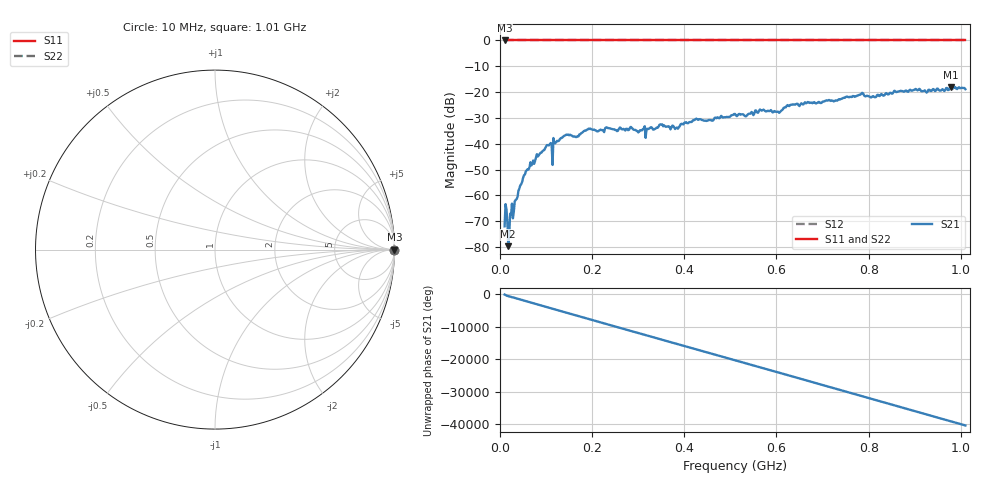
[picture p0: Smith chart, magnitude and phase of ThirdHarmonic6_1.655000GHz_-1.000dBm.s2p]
! 8/16/2025 7:49:28 PM
! C:\ANRITSUVNA\TEMP\TEMP.S2P
! CHANNEL.1
! TR.MEASUREMENT
! RAW.DATA
! RF.CORRECTION.OFF
! AVERAGING.OFF
! IF.BANDWIDTH: 5KHZ
! SWEEPTYPE:  FREQ.SWEEP(Linear)
! Reference Plane Port Info
! PORT:  PORT1  PORT2
! DISTANCE:  0  m  0  m
! TIME:  0  s  0  s
! PHASE.OFFSET:  0  deg.  0  deg.
! LOSS:  0  dB  0  dB
! REF.LOSS:  0  dB  0  dB
! REF.FREQ:  0  Hz  0  Hz
! Power Info
! POWER:  -20  dBm  -20  dBm
! EFF.POWER:  -20  dBm  -20  dBm
! SOURCE.ATTEN:  0  dB  0  dB
! TEST.ATTEN:  0  dB  0  dB
# GHZ S RI R 50.0
! FREQ.GHZ  S11RE  S11IM  S21RE  S21IM  S12RE  S12IM  S22RE  S22IM
!; PortSelection: Port_12
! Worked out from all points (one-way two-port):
!   501 points, 10 MHz to 1.01 GHz, reference 50 ohm
!   highest |S21| = -18.00 dB at 978 MHz (marker M1); lowest = -79.7 dB at 18 MHz (marker M2)
!   lowest |S11| = 0.0 dB at 10 MHz (marker M3)
!   |S11| at or under -10 dB: nowhere
!   |S22| runs from 0.0 to 0.0 dB; largest |S21 - S12| = 1.1
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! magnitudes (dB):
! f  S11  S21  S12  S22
! 10 MHz  0.0  -72.0  0.0  0.0
! 18 MHz  0.0  -79.7  0.0  0.0
! 20 MHz  0.0  -75.4  0.0  0.0
! 26 MHz  0.0  -63.2  0.0  0.0
! 54 MHz  0.0  -51.9  0.0  0.0
! 82 MHz  0.0  -44.9  0.0  0.0
! 142 MHz  0.0  -36.7  0.0  0.0
! 166 MHz  0.0  -37.4  0.0  0.0
! 178 MHz  0.0  -35.7  0.0  0.0
! 232 MHz  0.0  -33.6  0.0  0.0
! 320 MHz  0.0  -34.3  0.0  0.0
! 344 MHz  0.0  -33.4  0.0  0.0
! 384 MHz  0.0  -33.7  0.0  0.0
! 424 MHz  0.0  -30.5  0.0  0.0
! 510 MHz  0.0  -28.5  0.0  0.0
! 568 MHz  0.0  -27.1  0.0  0.0
! 604 MHz  0.0  -27.7  0.0  0.0
! 626 MHz  0.0  -25.3  0.0  0.0
! 678 MHz  0.0  -24.3  0.0  0.0
! 844 MHz  0.0  -20.8  0.0  0.0
! 978 MHz  0.0  -18.0  0.0  0.0
! 1.01 GHz  0.0  -18.9  0.0  0.0
